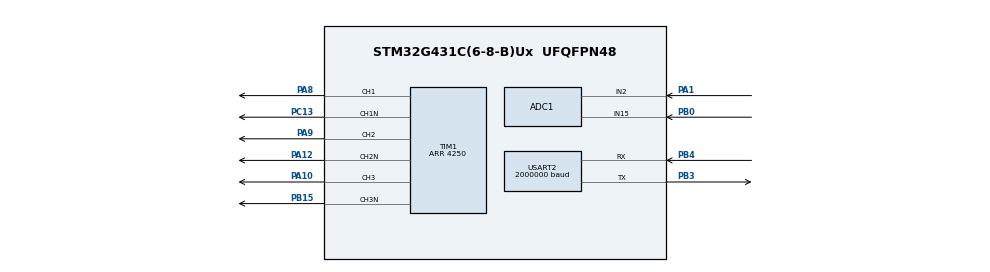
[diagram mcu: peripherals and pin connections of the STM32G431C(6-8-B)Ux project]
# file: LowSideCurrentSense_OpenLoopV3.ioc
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ADC1.EOCSelection=ADC_EOC_SEQ_CONV
ADC1.EnableInjectedConversion=ENABLE
ADC1.EnableRegularConversion=DISABLE
ADC1.ExternalTrigInjecConv=ADC_EXTERNALTRIGINJEC_T1_TRGO
ADC1.InjNumberOfConversion=2
ADC1.InjectedChannel-1\#ChannelInjectedConversion=ADC_CHANNEL_2
ADC1.InjectedChannel-2\#ChannelInjectedConversion=ADC_CHANNEL_15
ADC1.InjectedOffsetNumber-1\#ChannelInjectedConversion=ADC_OFFSET_NONE
ADC1.InjectedOffsetNumber-2\#ChannelInjectedConversion=ADC_OFFSET_NONE
ADC1.InjectedRank-1\#ChannelInjectedConversion=1
ADC1.InjectedRank-2\#ChannelInjectedConversion=2
ADC1.InjectedSamplingTime-1\#ChannelInjectedConversion=ADC_SAMPLETIME_12CYCLES_5
ADC1.InjectedSamplingTime-2\#ChannelInjectedConversion=ADC_SAMPLETIME_12CYCLES_5
ADC1.Rank2_Channel=ADC_CHANNEL_15
ADC1.master=1
Mcu.Family=STM32G4
Mcu.Name=STM32G431C(6-8-B)Ux
Mcu.Package=UFQFPN48
NVIC.ADC1_2_IRQn=true\:0\:0\:false\:false\:true\:true\:true\:true
NVIC.PriorityGroup=NVIC_PRIORITYGROUP_4
NVIC.TIM2_IRQn=true\:15\:0\:false\:false\:true\:false\:true\:true
NVIC.TimeBase=TIM2_IRQn
NVIC.TimeBaseIP=TIM2
NVIC.USART2_IRQn=true\:1\:0\:true\:false\:true\:true\:true\:true
PA1.Mode=IN2-Single-Ended
PA1.Signal=ADC1_IN2
PA10.Signal=S_TIM1_CH3
PA12.Mode=PWM Generation2 CH2 CH2N
PA12.Signal=TIM1_CH2N
PA8.Signal=S_TIM1_CH1
PA9.Signal=S_TIM1_CH2
PB0.Mode=IN15-Single-Ended
PB0.Signal=ADC1_IN15
PB15.Mode=PWM Generation3 CH3 CH3N
PB15.Signal=TIM1_CH3N
PB3.Mode=Asynchronous
PB3.Signal=USART2_TX
PB4.Mode=Asynchronous
PB4.Signal=USART2_RX
PC13.Mode=PWM Generation1 CH1 CH1N
PC13.Signal=TIM1_CH1N
PF0-OSC_IN.Mode=HSE-External-Oscillator
PF0-OSC_IN.Signal=RCC_OSC_IN
PF1-OSC_OUT.Mode=HSE-External-Oscillator
PF1-OSC_OUT.Signal=RCC_OSC_OUT
ProjectManager.HeapSize=0x200
ProjectManager.StackSize=0x400
ProjectManager.TargetToolchain=STM32CubeIDE
RCC.ADC12Freq_Value=170000000
RCC.AHBFreq_Value=170000000
RCC.APB1Freq_Value=170000000
RCC.APB1TimFreq_Value=170000000
RCC.APB2Freq_Value=170000000
RCC.APB2TimFreq_Value=170000000
RCC.CortexFreq_Value=170000000
RCC.EXTERNAL_CLOCK_VALUE=12288000
RCC.EnbaleCSS=true
RCC.HCLKFreq_Value=170000000
RCC.HSE_VALUE=8000000
RCC.HSI48_VALUE=48000000
RCC.HSI_VALUE=16000000
RCC.LSE_VALUE=32768
RCC.PLLM=RCC_PLLM_DIV2
RCC.PLLN=85
RCC.PLLSourceVirtual=RCC_PLLSOURCE_HSE
RCC.SYSCLKFreq_VALUE=170000000
RCC.SYSCLKSource=RCC_SYSCLKSOURCE_PLLCLK
RCC.USBFreq_Value=170000000
RCC.VCOOutputFreq_Value=340000000
SH.S_TIM1_CH1.0=TIM1_CH1,PWM Generation1 CH1 CH1N
SH.S_TIM1_CH2.0=TIM1_CH2,PWM Generation2 CH2 CH2N
SH.S_TIM1_CH3.0=TIM1_CH3,PWM Generation3 CH3 CH3N
TIM1.Channel-PWM\ Generation1\ CH1\ CH1N=TIM_CHANNEL_1
TIM1.Channel-PWM\ Generation2\ CH2\ CH2N=TIM_CHANNEL_2
TIM1.Channel-PWM\ Generation3\ CH3\ CH3N=TIM_CHANNEL_3
TIM1.CounterMode=TIM_COUNTERMODE_CENTERALIGNED1
TIM1.DeadTime=0x77
TIM1.PeriodNoDither=4250
TIM1.RepetitionCounter=1
TIM1.TIM_MasterOutputTrigger=TIM_TRGO_UPDATE
USART2.BaudRate=2000000
USART2.VirtualMode-Asynchronous=VM_ASYNC
VP_SYS_VS_DBSignals.Mode=DisableDeadBatterySignals
VP_SYS_VS_tim2.Mode=TIM2
board=custom

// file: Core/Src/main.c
/* USER CODE BEGIN Header */
/**
  ******************************************************************************
  * @file           : main.c
  * @brief          : Main program body
  ******************************************************************************
  * @attention
  *
  * Copyright (c) 2026 STMicroelectronics.
  * All rights reserved.
  *
  * This software is licensed under terms that can be found in the LICENSE file
  * in the root directory of this software component.
  * If no LICENSE file comes with this software, it is provided AS-IS.
  *
  ******************************************************************************
  */
/* USER CODE END Header */
#include "main.h"

/* USER CODE BEGIN Includes */
#include "openloop.h"
/* USER CODE END Includes */

/* USER CODE BEGIN PV */
volatile uint32_t isr_count = 0;
/* USER CODE END PV */

void SystemClock_Config(void);
static void MX_GPIO_Init(void);
static void MX_ADC1_Init(void);
static void MX_TIM1_Init(void);
static void MX_USART2_UART_Init(void);

int main(void)
{

  /* MCU Configuration--------------------------------------------------------*/

  /* Reset of all peripherals, Initializes the Flash interface and the Systick. */
  HAL_Init();

  /* Configure the system clock */
  SystemClock_Config();

  /* Initialize all configured peripherals */
  MX_GPIO_Init();
  MX_ADC1_Init();
  MX_TIM1_Init();
  MX_USART2_UART_Init();
  /* USER CODE BEGIN 2 */
  /* Initialize sine lookup table */
  init_sine_lut();

  /* ============== ADC SETUP - CRITICAL FOR TRIGGERING ============== */

  /* ADC Calibration (MUST be done before enabling) */
  LL_ADC_StartCalibration(ADC1, LL_ADC_SINGLE_ENDED);
  while (LL_ADC_IsCalibrationOnGoing(ADC1));

  /* Enable ADC */
  LL_ADC_Enable(ADC1);

  /* Wait for ADC to be ready */
  while (!LL_ADC_IsActiveFlag_ADRDY(ADC1));

  /* Configure ADC Injected Trigger Source */
  LL_ADC_INJ_SetTriggerSource(ADC1, LL_ADC_INJ_TRIG_EXT_TIM1_TRGO);

  /* Enable external trigger for injected conversions - RISING EDGE */
  LL_ADC_INJ_SetTriggerEdge(ADC1, LL_ADC_INJ_TRIG_EXT_RISING);

  /* Enable ADC Injected End-of-Sequence Interrupt */
  LL_ADC_EnableIT_JEOS(ADC1);

  /* Start ADC Injected Conversions (enables triggering) */
  LL_ADC_INJ_StartConversion(ADC1);

  /* ============== TIM1 SETUP ============== */

  /* Configure TIM1 TRGO for Update Event */
  LL_TIM_SetTriggerOutput(TIM1, LL_TIM_TRGO_UPDATE);

  /* Enable TIM1 PWM channels */
  LL_TIM_CC_EnableChannel(TIM1, LL_TIM_CHANNEL_CH1);
  LL_TIM_CC_EnableChannel(TIM1, LL_TIM_CHANNEL_CH1N);
  LL_TIM_CC_EnableChannel(TIM1, LL_TIM_CHANNEL_CH2);
  LL_TIM_CC_EnableChannel(TIM1, LL_TIM_CHANNEL_CH2N);
  LL_TIM_CC_EnableChannel(TIM1, LL_TIM_CHANNEL_CH3);
  LL_TIM_CC_EnableChannel(TIM1, LL_TIM_CHANNEL_CH3N);

  /* Enable TIM1 main output */
  LL_TIM_EnableAllOutputs(TIM1);

  /* Set initial motor parameters: 60 RPM, 50% amplitude */
  update_open_loop_params(60.0f, 0.5f);

  /* Start TIM1 counter - THIS STARTS THE ADC TRIGGERING */
  LL_TIM_EnableCounter(TIM1);

  /* THEN set RCR=1 to ensure UEV (and ADC trigger) occurs at overflow/ARR */
  LL_TIM_SetRepetitionCounter(TIM1, 1);

  /* USER CODE END 2 */

  /* Infinite loop */
  while (1)
  {

  }
}

void SystemClock_Config(void)
{
  LL_FLASH_SetLatency(LL_FLASH_LATENCY_4);
  while(LL_FLASH_GetLatency() != LL_FLASH_LATENCY_4)
  {
  }
  LL_PWR_EnableRange1BoostMode();
  LL_RCC_HSE_Enable();
   /* Wait till HSE is ready */
  while(LL_RCC_HSE_IsReady() != 1)
  {
  }

  LL_RCC_HSE_EnableCSS();
  LL_RCC_PLL_ConfigDomain_SYS(LL_RCC_PLLSOURCE_HSE, LL_RCC_PLLM_DIV_2, 85, LL_RCC_PLLR_DIV_2);
  LL_RCC_PLL_EnableDomain_SYS();
  LL_RCC_PLL_Enable();
   /* Wait till PLL is ready */
  while(LL_RCC_PLL_IsReady() != 1)
  {
  }

  LL_RCC_SetSysClkSource(LL_RCC_SYS_CLKSOURCE_PLL);
  LL_RCC_SetAHBPrescaler(LL_RCC_SYSCLK_DIV_2);
   /* Wait till System clock is ready */
  while(LL_RCC_GetSysClkSource() != LL_RCC_SYS_CLKSOURCE_STATUS_PLL)
  {
  }

  /* Insure 1us transition state at intermediate medium speed clock*/
  for (__IO uint32_t i = (170 >> 1); i !=0; i--);

  /* Set AHB prescaler*/
  LL_RCC_SetAHBPrescaler(LL_RCC_SYSCLK_DIV_1);
  LL_RCC_SetAPB1Prescaler(LL_RCC_APB1_DIV_1);
  LL_RCC_SetAPB2Prescaler(LL_RCC_APB2_DIV_1);
  LL_SetSystemCoreClock(170000000);

   /* Update the time base */
  if (HAL_InitTick (TICK_INT_PRIORITY) != HAL_OK)
  {
    Error_Handler();
  }
}

static void MX_ADC1_Init(void)
{

  LL_ADC_InitTypeDef ADC_InitStruct = {0};
  LL_ADC_REG_InitTypeDef ADC_REG_InitStruct = {0};
  LL_ADC_CommonInitTypeDef ADC_CommonInitStruct = {0};
  LL_ADC_INJ_InitTypeDef ADC_INJ_InitStruct = {0};

  LL_GPIO_InitTypeDef GPIO_InitStruct = {0};

  LL_RCC_SetADCClockSource(LL_RCC_ADC12_CLKSOURCE_SYSCLK);

  /* Peripheral clock enable */
  LL_AHB2_GRP1_EnableClock(LL_AHB2_GRP1_PERIPH_ADC12);

  LL_AHB2_GRP1_EnableClock(LL_AHB2_GRP1_PERIPH_GPIOA);
  LL_AHB2_GRP1_EnableClock(LL_AHB2_GRP1_PERIPH_GPIOB);
  /**ADC1 GPIO Configuration
  PA1   ------> ADC1_IN2
  PB0   ------> ADC1_IN15
  */
  GPIO_InitStruct.Pin = LL_GPIO_PIN_1;
  GPIO_InitStruct.Mode = LL_GPIO_MODE_ANALOG;
  GPIO_InitStruct.Pull = LL_GPIO_PULL_NO;
  LL_GPIO_Init(GPIOA, &GPIO_InitStruct);

  GPIO_InitStruct.Pin = LL_GPIO_PIN_0;
  GPIO_InitStruct.Mode = LL_GPIO_MODE_ANALOG;
  GPIO_InitStruct.Pull = LL_GPIO_PULL_NO;
  LL_GPIO_Init(GPIOB, &GPIO_InitStruct);

  /* ADC1 interrupt Init */
  NVIC_SetPriority(ADC1_2_IRQn, NVIC_EncodePriority(NVIC_GetPriorityGrouping(),0, 0));
  NVIC_EnableIRQ(ADC1_2_IRQn);

  /** Common config
  */
  ADC_InitStruct.Resolution = LL_ADC_RESOLUTION_12B;
  ADC_InitStruct.DataAlignment = LL_ADC_DATA_ALIGN_RIGHT;
  ADC_InitStruct.LowPowerMode = LL_ADC_LP_MODE_NONE;
  LL_ADC_Init(ADC1, &ADC_InitStruct);
  ADC_REG_InitStruct.SequencerLength = LL_ADC_REG_SEQ_SCAN_DISABLE;
  ADC_REG_InitStruct.SequencerDiscont = LL_ADC_REG_SEQ_DISCONT_DISABLE;
  ADC_REG_InitStruct.ContinuousMode = LL_ADC_REG_CONV_SINGLE;
  ADC_REG_InitStruct.DMATransfer = LL_ADC_REG_DMA_TRANSFER_NONE;
  ADC_REG_InitStruct.Overrun = LL_ADC_REG_OVR_DATA_PRESERVED;
  LL_ADC_REG_Init(ADC1, &ADC_REG_InitStruct);
  LL_ADC_SetGainCompensation(ADC1, 0);
  LL_ADC_SetOverSamplingScope(ADC1, LL_ADC_OVS_DISABLE);
  ADC_CommonInitStruct.CommonClock = LL_ADC_CLOCK_SYNC_PCLK_DIV4;
  ADC_CommonInitStruct.Multimode = LL_ADC_MULTI_INDEPENDENT;
  LL_ADC_CommonInit(__LL_ADC_COMMON_INSTANCE(ADC1), &ADC_CommonInitStruct);
  ADC_INJ_InitStruct.TriggerSource = LL_ADC_INJ_TRIG_EXT_TIM1_TRGO;
  ADC_INJ_InitStruct.SequencerLength = LL_ADC_INJ_SEQ_SCAN_ENABLE_2RANKS;
  ADC_INJ_InitStruct.SequencerDiscont = LL_ADC_INJ_SEQ_DISCONT_DISABLE;
  ADC_INJ_InitStruct.TrigAuto = LL_ADC_INJ_TRIG_INDEPENDENT;
  LL_ADC_INJ_Init(ADC1, &ADC_INJ_InitStruct);
  LL_ADC_INJ_SetQueueMode(ADC1, LL_ADC_INJ_QUEUE_DISABLE);
  LL_ADC_INJ_SetTriggerEdge(ADC1, LL_ADC_INJ_TRIG_EXT_RISING);

  /* Disable ADC deep power down (enabled by default after reset state) */
  LL_ADC_DisableDeepPowerDown(ADC1);
  /* Enable ADC internal voltage regulator */
  LL_ADC_EnableInternalRegulator(ADC1);
  /* Delay for ADC internal voltage regulator stabilization. */
  /* Compute number of CPU cycles to wait for, from delay in us. */
  /* Note: Variable divided by 2 to compensate partially */
  /* CPU processing cycles (depends on compilation optimization). */
  /* Note: If system core clock frequency is below 200kHz, wait time */
  /* is only a few CPU processing cycles. */
  uint32_t wait_loop_index;
  wait_loop_index = ((LL_ADC_DELAY_INTERNAL_REGUL_STAB_US * (SystemCoreClock / (100000 * 2))) / 10);
  while(wait_loop_index != 0)
  {
    wait_loop_index--;
  }

  /** Configure Injected Channel
  */
  LL_ADC_INJ_SetSequencerRanks(ADC1, LL_ADC_INJ_RANK_1, LL_ADC_CHANNEL_2);
  LL_ADC_SetChannelSamplingTime(ADC1, LL_ADC_CHANNEL_2, LL_ADC_SAMPLINGTIME_12CYCLES_5);
  LL_ADC_SetChannelSingleDiff(ADC1, LL_ADC_CHANNEL_2, LL_ADC_SINGLE_ENDED);

  /** Configure Injected Channel
  */
  LL_ADC_INJ_SetSequencerRanks(ADC1, LL_ADC_INJ_RANK_2, LL_ADC_CHANNEL_15);
  LL_ADC_SetChannelSamplingTime(ADC1, LL_ADC_CHANNEL_15, LL_ADC_SAMPLINGTIME_12CYCLES_5);
  LL_ADC_SetChannelSingleDiff(ADC1, LL_ADC_CHANNEL_15, LL_ADC_SINGLE_ENDED);

}

static void MX_TIM1_Init(void)
{

  LL_TIM_InitTypeDef TIM_InitStruct = {0};
  LL_TIM_OC_InitTypeDef TIM_OC_InitStruct = {0};
  LL_TIM_BDTR_InitTypeDef TIM_BDTRInitStruct = {0};

  LL_GPIO_InitTypeDef GPIO_InitStruct = {0};

  /* Peripheral clock enable */
  LL_APB2_GRP1_EnableClock(LL_APB2_GRP1_PERIPH_TIM1);

  TIM_InitStruct.Prescaler = 0;
  TIM_InitStruct.CounterMode = LL_TIM_COUNTERMODE_CENTER_DOWN;
  TIM_InitStruct.Autoreload = 4250;
  TIM_InitStruct.ClockDivision = LL_TIM_CLOCKDIVISION_DIV1;
  //TIM_InitStruct.RepetitionCounter = 1;
  LL_TIM_Init(TIM1, &TIM_InitStruct);
  LL_TIM_DisableARRPreload(TIM1);
  LL_TIM_OC_EnablePreload(TIM1, LL_TIM_CHANNEL_CH1);
  TIM_OC_InitStruct.OCMode = LL_TIM_OCMODE_PWM1;
  TIM_OC_InitStruct.OCState = LL_TIM_OCSTATE_DISABLE;
  TIM_OC_InitStruct.OCNState = LL_TIM_OCSTATE_DISABLE;
  TIM_OC_InitStruct.CompareValue = 0;
  TIM_OC_InitStruct.OCPolarity = LL_TIM_OCPOLARITY_HIGH;
  TIM_OC_InitStruct.OCNPolarity = LL_TIM_OCPOLARITY_HIGH;
  TIM_OC_InitStruct.OCIdleState = LL_TIM_OCIDLESTATE_LOW;
  TIM_OC_InitStruct.OCNIdleState = LL_TIM_OCIDLESTATE_LOW;
  LL_TIM_OC_Init(TIM1, LL_TIM_CHANNEL_CH1, &TIM_OC_InitStruct);
  LL_TIM_OC_DisableFast(TIM1, LL_TIM_CHANNEL_CH1);
  LL_TIM_OC_EnablePreload(TIM1, LL_TIM_CHANNEL_CH2);
  LL_TIM_OC_Init(TIM1, LL_TIM_CHANNEL_CH2, &TIM_OC_InitStruct);
  LL_TIM_OC_DisableFast(TIM1, LL_TIM_CHANNEL_CH2);
  LL_TIM_OC_EnablePreload(TIM1, LL_TIM_CHANNEL_CH3);
  LL_TIM_OC_Init(TIM1, LL_TIM_CHANNEL_CH3, &TIM_OC_InitStruct);
  LL_TIM_OC_DisableFast(TIM1, LL_TIM_CHANNEL_CH3);
  LL_TIM_SetTriggerOutput(TIM1, LL_TIM_TRGO_UPDATE);
  LL_TIM_SetTriggerOutput2(TIM1, LL_TIM_TRGO2_RESET);
  LL_TIM_DisableMasterSlaveMode(TIM1);
  TIM_BDTRInitStruct.OSSRState = LL_TIM_OSSR_DISABLE;
  TIM_BDTRInitStruct.OSSIState = LL_TIM_OSSI_DISABLE;
  TIM_BDTRInitStruct.LockLevel = LL_TIM_LOCKLEVEL_OFF;
  TIM_BDTRInitStruct.DeadTime = 0x77;
  TIM_BDTRInitStruct.BreakState = LL_TIM_BREAK_DISABLE;
  TIM_BDTRInitStruct.BreakPolarity = LL_TIM_BREAK_POLARITY_HIGH;
  TIM_BDTRInitStruct.BreakFilter = LL_TIM_BREAK_FILTER_FDIV1;
  TIM_BDTRInitStruct.BreakAFMode = LL_TIM_BREAK_AFMODE_INPUT;
  TIM_BDTRInitStruct.Break2State = LL_TIM_BREAK2_DISABLE;
  TIM_BDTRInitStruct.Break2Polarity = LL_TIM_BREAK2_POLARITY_HIGH;
  TIM_BDTRInitStruct.Break2Filter = LL_TIM_BREAK2_FILTER_FDIV1;
  TIM_BDTRInitStruct.Break2AFMode = LL_TIM_BREAK_AFMODE_INPUT;
  TIM_BDTRInitStruct.AutomaticOutput = LL_TIM_AUTOMATICOUTPUT_DISABLE;
  LL_TIM_BDTR_Init(TIM1, &TIM_BDTRInitStruct);
  LL_AHB2_GRP1_EnableClock(LL_AHB2_GRP1_PERIPH_GPIOC);
  LL_AHB2_GRP1_EnableClock(LL_AHB2_GRP1_PERIPH_GPIOB);
  LL_AHB2_GRP1_EnableClock(LL_AHB2_GRP1_PERIPH_GPIOA);
  /**TIM1 GPIO Configuration
  PC13   ------> TIM1_CH1N
  PB15   ------> TIM1_CH3N
  PA8   ------> TIM1_CH1
  PA9   ------> TIM1_CH2
  PA10   ------> TIM1_CH3
  PA12   ------> TIM1_CH2N
  */
  GPIO_InitStruct.Pin = LL_GPIO_PIN_13;
  GPIO_InitStruct.Mode = LL_GPIO_MODE_ALTERNATE;
  GPIO_InitStruct.Speed = LL_GPIO_SPEED_FREQ_LOW;
  GPIO_InitStruct.OutputType = LL_GPIO_OUTPUT_PUSHPULL;
  GPIO_InitStruct.Pull = LL_GPIO_PULL_NO;
  GPIO_InitStruct.Alternate = LL_GPIO_AF_4;
  LL_GPIO_Init(GPIOC, &GPIO_InitStruct);

  GPIO_InitStruct.Pin = LL_GPIO_PIN_15;
  GPIO_InitStruct.Mode = LL_GPIO_MODE_ALTERNATE;
  GPIO_InitStruct.Speed = LL_GPIO_SPEED_FREQ_LOW;
  GPIO_InitStruct.OutputType = LL_GPIO_OUTPUT_PUSHPULL;
  GPIO_InitStruct.Pull = LL_GPIO_PULL_NO;
  GPIO_InitStruct.Alternate = LL_GPIO_AF_4;
  LL_GPIO_Init(GPIOB, &GPIO_InitStruct);

  GPIO_InitStruct.Pin = LL_GPIO_PIN_8;
  GPIO_InitStruct.Mode = LL_GPIO_MODE_ALTERNATE;
  GPIO_InitStruct.Speed = LL_GPIO_SPEED_FREQ_LOW;
  GPIO_InitStruct.OutputType = LL_GPIO_OUTPUT_PUSHPULL;
  GPIO_InitStruct.Pull = LL_GPIO_PULL_NO;
  GPIO_InitStruct.Alternate = LL_GPIO_AF_6;
  LL_GPIO_Init(GPIOA, &GPIO_InitStruct);

  GPIO_InitStruct.Pin = LL_GPIO_PIN_9;
  GPIO_InitStruct.Mode = LL_GPIO_MODE_ALTERNATE;
  GPIO_InitStruct.Speed = LL_GPIO_SPEED_FREQ_LOW;
  GPIO_InitStruct.OutputType = LL_GPIO_OUTPUT_PUSHPULL;
  GPIO_InitStruct.Pull = LL_GPIO_PULL_NO;
  GPIO_InitStruct.Alternate = LL_GPIO_AF_6;
  LL_GPIO_Init(GPIOA, &GPIO_InitStruct);

  GPIO_InitStruct.Pin = LL_GPIO_PIN_10;
  GPIO_InitStruct.Mode = LL_GPIO_MODE_ALTERNATE;
  GPIO_InitStruct.Speed = LL_GPIO_SPEED_FREQ_LOW;
  GPIO_InitStruct.OutputType = LL_GPIO_OUTPUT_PUSHPULL;
  GPIO_InitStruct.Pull = LL_GPIO_PULL_NO;
  GPIO_InitStruct.Alternate = LL_GPIO_AF_6;
  LL_GPIO_Init(GPIOA, &GPIO_InitStruct);

  GPIO_InitStruct.Pin = LL_GPIO_PIN_12;
  GPIO_InitStruct.Mode = LL_GPIO_MODE_ALTERNATE;
  GPIO_InitStruct.Speed = LL_GPIO_SPEED_FREQ_LOW;
  GPIO_InitStruct.OutputType = LL_GPIO_OUTPUT_PUSHPULL;
  GPIO_InitStruct.Pull = LL_GPIO_PULL_NO;
  GPIO_InitStruct.Alternate = LL_GPIO_AF_6;
  LL_GPIO_Init(GPIOA, &GPIO_InitStruct);

}

static void MX_USART2_UART_Init(void)
{

  LL_USART_InitTypeDef USART_InitStruct = {0};

  LL_GPIO_InitTypeDef GPIO_InitStruct = {0};

  LL_RCC_SetUSARTClockSource(LL_RCC_USART2_CLKSOURCE_PCLK1);

  /* Peripheral clock enable */
  LL_APB1_GRP1_EnableClock(LL_APB1_GRP1_PERIPH_USART2);

  LL_AHB2_GRP1_EnableClock(LL_AHB2_GRP1_PERIPH_GPIOB);
  /**USART2 GPIO Configuration
  PB3   ------> USART2_TX
  PB4   ------> USART2_RX
  */
  GPIO_InitStruct.Pin = LL_GPIO_PIN_3;
  GPIO_InitStruct.Mode = LL_GPIO_MODE_ALTERNATE;
  GPIO_InitStruct.Speed = LL_GPIO_SPEED_FREQ_LOW;
  GPIO_InitStruct.OutputType = LL_GPIO_OUTPUT_PUSHPULL;
  GPIO_InitStruct.Pull = LL_GPIO_PULL_NO;
  GPIO_InitStruct.Alternate = LL_GPIO_AF_7;
  LL_GPIO_Init(GPIOB, &GPIO_InitStruct);

  GPIO_InitStruct.Pin = LL_GPIO_PIN_4;
  GPIO_InitStruct.Mode = LL_GPIO_MODE_ALTERNATE;
  GPIO_InitStruct.Speed = LL_GPIO_SPEED_FREQ_LOW;
  GPIO_InitStruct.OutputType = LL_GPIO_OUTPUT_PUSHPULL;
  GPIO_InitStruct.Pull = LL_GPIO_PULL_NO;
  GPIO_InitStruct.Alternate = LL_GPIO_AF_7;
  LL_GPIO_Init(GPIOB, &GPIO_InitStruct);

  /* USART2 interrupt Init */
  NVIC_SetPriority(USART2_IRQn, NVIC_EncodePriority(NVIC_GetPriorityGrouping(),1, 0));
  NVIC_EnableIRQ(USART2_IRQn);

  USART_InitStruct.PrescalerValue = LL_USART_PRESCALER_DIV1;
  USART_InitStruct.BaudRate = 2000000;
  USART_InitStruct.DataWidth = LL_USART_DATAWIDTH_8B;
  USART_InitStruct.StopBits = LL_USART_STOPBITS_1;
  USART_InitStruct.Parity = LL_USART_PARITY_NONE;
  USART_InitStruct.TransferDirection = LL_USART_DIRECTION_TX_RX;
  USART_InitStruct.HardwareFlowControl = LL_USART_HWCONTROL_NONE;
  USART_InitStruct.OverSampling = LL_USART_OVERSAMPLING_16;
  LL_USART_Init(USART2, &USART_InitStruct);
  LL_USART_SetTXFIFOThreshold(USART2, LL_USART_FIFOTHRESHOLD_1_8);
  LL_USART_SetRXFIFOThreshold(USART2, LL_USART_FIFOTHRESHOLD_1_8);
  LL_USART_DisableFIFO(USART2);
  LL_USART_ConfigAsyncMode(USART2);

  LL_USART_Enable(USART2);

  /* Polling USART2 initialisation */
  while((!(LL_USART_IsActiveFlag_TEACK(USART2))) || (!(LL_USART_IsActiveFlag_REACK(USART2))))
  {
  }

}

static void MX_GPIO_Init(void)
{

  /* GPIO Ports Clock Enable */
  LL_AHB2_GRP1_EnableClock(LL_AHB2_GRP1_PERIPH_GPIOC);
  LL_AHB2_GRP1_EnableClock(LL_AHB2_GRP1_PERIPH_GPIOF);
  LL_AHB2_GRP1_EnableClock(LL_AHB2_GRP1_PERIPH_GPIOA);
  LL_AHB2_GRP1_EnableClock(LL_AHB2_GRP1_PERIPH_GPIOB);

}

void HAL_TIM_PeriodElapsedCallback(TIM_HandleTypeDef *htim)
{
  if (htim->Instance == TIM2)
  {
    HAL_IncTick();
  }
}

void Error_Handler(void)
{
  __disable_irq();
  while (1)
  {
  }
}
